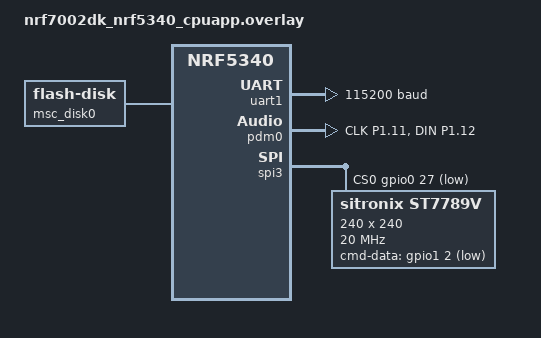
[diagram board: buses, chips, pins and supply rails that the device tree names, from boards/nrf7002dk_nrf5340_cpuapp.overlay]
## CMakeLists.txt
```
#
# Copyright (c) 2023 Nordic Semiconductor ASA
#
# SPDX-License-Identifier: LicenseRef-Nordic-5-Clause
#

cmake_minimum_required(VERSION 3.20.0)

get_filename_component(MATTER_MODULE_ROOT $ENV{ZEPHYR_BASE}/../modules/lib/matter REALPATH)

# Set Kconfig root files that will be processed as a first Kconfig for used child images.
set(mcuboot_KCONFIG_ROOT "${MATTER_MODULE_ROOT}/config/nrfconnect/chip-module/Kconfig.mcuboot.root")
# used for Matter over Thread
set(multiprotocol_rpmsg_KCONFIG_ROOT "${MATTER_MODULE_ROOT}/config/nrfconnect/chip-module/Kconfig.multiprotocol_rpmsg.root")
list(APPEND multiprotocol_rpmsg_b0n_OVERLAY_CONFIG overlay-minimal-size.conf)
# used for Matter over Wi-Fi
set(hci_rpmsg_KCONFIG_ROOT "${MATTER_MODULE_ROOT}/config/nrfconnect/chip-module/Kconfig.hci_rpmsg.root")
list(APPEND hci_rpmsg_b0n_OVERLAY_CONFIG overlay-minimal-size.conf)

find_package(Zephyr HINTS $ENV{ZEPHYR_BASE})

project(matter-bridge)

set(COMMON_ROOT src/common)
set(NLIO_ROOT ${MATTER_MODULE_ROOT}/third_party/nlio/repo)
include(${MATTER_MODULE_ROOT}/config/nrfconnect/app/enable-gnu-std.cmake)
include(${MATTER_MODULE_ROOT}/src/app/chip_data_model.cmake)

# NORDIC SDK APP START
target_include_directories(app PRIVATE
    src
    ${COMMON_ROOT}
    ${NLIO_ROOT}/include
    ${MATTER_MODULE_ROOT}/zzz_generated/app-common
)

target_sources(app PRIVATE
    src/app_task.cpp
    src/main.cpp
    src/util.cpp
    src/bridge/bridge_manager.cpp
    src/bridge/matter_device.cpp
    src/bridge/matter_device_ble.cpp
    src/bridge/matter_device_fixed.cpp
    src/bridge/ble_connectivity_manager.cpp
    src/bridge/ble_device.cpp
    src/bridge/oob_exchange_manager.cpp
    src/uart/nfc_uart.cpp
    src/zap-generated/IMClusterCommandHandler.cpp
    src/zap-generated/callback-stub.cpp
    ${COMMON_ROOT}/led_widget.cpp
)

target_sources_ifdef(CONFIG_WIFI
        app PRIVATE
        src/reminders/ai/completions.c
        src/reminders/ai/socket_common.c
        src/reminders/ai/whisper.c
        src/reminders/persistence/persistence.c
        src/reminders/recorder.c
        src/reminders/reminder.c
        src/reminders/reminders_app.c
        src/display.c
)

set(gen_dir ${ZEPHYR_BINARY_DIR}/include/generated/)

generate_inc_file_for_target(
    app
    src/reminders/ai/Baltimore\ CyberTrust\ Root.cer
    ${gen_dir}/https-cert.der.inc
)

target_sources_ifndef(CONFIG_USB_DEVICE_INITIALIZE_AT_BOOT
    app PRIVATE
    src/usb/usb.cpp
)

target_sources_ifdef(CONFIG_SHELL
    app PRIVATE
    src/bridge_shell.cpp
)

if(CONFIG_CHIP_OTA_REQUESTOR)
    target_sources(app PRIVATE ${COMMON_ROOT}/src/ota_util.cpp)
endif()

chip_configure_data_model(app
    INCLUDE_SERVER
    BYPASS_IDL
    GEN_DIR src/zap-generated
    ZAP_FILE ${CMAKE_CURRENT_SOURCE_DIR}/src/bridge.zap
)
# NORDIC SDK APP END

# Requires fixing a warning in zephyr/include/zephyr/net/ieee802154_pkt.h
#   Add cast to line 72 (at least ncs v2.4.1,v2.5.0):
#     return (struct net_pkt_cb_ieee802154*) net_pkt_cb(pkt);
#zephyr_library_compile_options(-std=gnu++20 -Wno-volatile -Werror)
zephyr_library_compile_options(-std=gnu++20 -Wno-volatile)
```

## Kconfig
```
#
# Copyright (c) 2023 Nordic Semiconductor
#
# SPDX-License-Identifier: LicenseRef-Nordic-5-Clause
#
mainmenu "Matter nRF Connect Bridge Example Application"

if NET_L2_OPENTHREAD

choice OPENTHREAD_NORDIC_LIBRARY_CONFIGURATION
	default OPENTHREAD_NORDIC_LIBRARY_FTD
endchoice

choice OPENTHREAD_DEVICE_TYPE
	default OPENTHREAD_FTD
endchoice

endif # NET_L2_OPENTHREAD

config BRIDGE_MAX_DYNAMIC_ENDPOINTS_NUMBER
	int "Maximum number of dynamic endpoints supported by the Bridge"
	default 16

config BRIDGE_BT_RECOVERY_INTERVAL_MS
	int "Time (in ms) between recovery attempts when the BLE connection to the bridged device is lost"
	default 10000

config BRIDGE_BT_RECOVERY_SCAN_TIMEOUT_MS
	int "Time (in ms) within which the Bridge will try to re-establish a connection to the lost BT LE device"
	default 2000
	
config BRIDGE_AGGREGATOR_ENDPOINT_ID
 	int "Id of an endpoint implementing Aggregator device type functionality"
 	default 1

config OPENAI_API_KEY
	string "API Key for Open.ai"
	help
	  Specify the Password to connect


partition=FFS1
partition-size=0x100000
source "${ZEPHYR_BASE}/../nrf/subsys/partition_manager/Kconfig.template.partition_config"
source "${ZEPHYR_BASE}/../nrf/subsys/partition_manager/Kconfig.template.partition_region"

source "${ZEPHYR_CONNECTEDHOMEIP_MODULE_DIR}/config/nrfconnect/chip-module/Kconfig.features"
source "${ZEPHYR_CONNECTEDHOMEIP_MODULE_DIR}/config/nrfconnect/chip-module/Kconfig.defaults"
source "Kconfig.zephyr"

# Required to be able to do 
# list(APPEND multiprotocol_rpmsg_b0n_OVERLAY_CONFIG overlay-minimal-size.conf)
# list(APPEND hci_rpmsg_b0n_OVERLAY_CONFIG overlay-minimal-size.conf)
# in CMakeLists.txt
module=HCI_RPMSG
source "${ZEPHYR_BASE}/../nrf/subsys/partition_manager/Kconfig.template.build_strategy"

module=MULTIPROTOCOL_RPMSG
source "${ZEPHYR_BASE}/../nrf/subsys/partition_manager/Kconfig.template.build_strategy"
```

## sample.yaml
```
sample:
  description: Matter Bridge
  name: Matter Bridge application
tests:
  gentlyCommunicatingHome.bridge:
    platform_allow: ssci_mdbt53_dev_board nrf7002dk_nrf5340_cpuapp
```

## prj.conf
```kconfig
#################
# Debugging
#################
# Debug information
CONFIG_DEBUG=n
CONFIG_DEBUG_OPTIMIZATIONS=n
CONFIG_DEBUG_INFO=y
CONFIG_DEBUG_THREAD_INFO=y

CONFIG_THREAD_NAME=y
CONFIG_THREAD_MONITOR=y

CONFIG_MPU_STACK_GUARD=y

CONFIG_RESET_ON_FATAL_ERROR=y

# Disabling assertions saves # Disabling shell saves 18,524 bytes of flash bytes of flash
CONFIG_ASSERT=n
CONFIG_ASSERT_VERBOSE=n



#################
# Memory settings
#################
# Workqueue
CONFIG_SYSTEM_WORKQUEUE_STACK_SIZE=8192

# Stack sizes
CONFIG_ISR_STACK_SIZE=2048
CONFIG_MAIN_STACK_SIZE=6144
CONFIG_SHELL_STACK_SIZE=8192
# Raised to avoid crash default 2200 if BT_SETTINGS
CONFIG_BT_RX_STACK_SIZE=3072

# defaults
#CONFIG_NET_TX_STACK_SIZE=4096
#CONFIG_NET_RX_STACK_SIZE=4096
#CONFIG_NET_MGMT_EVENT_STACK_SIZE=4096
#CONFIG_NRF700X_WORKQ_STACK_SIZE=4096
#CONFIG_WFA_QT_THREAD_STACK_SIZE=4096
#CONFIG_WPA_SUPP_THREAD_STACK_SIZE=8192
#CONFIG_WPA_SUPP_WQ_STACK_SIZE=4096

# Heap sizes
CONFIG_HEAP_MEM_POOL_SIZE=155000
CONFIG_MBEDTLS_HEAP_SIZE=32768

# Other large contributors
# MEMORY -> If 10 then RX Buf 22.63kB (CONFIG_LV_Z_BITS_PER_PIXEL * ((CONFIG_LV_Z_VDB_SIZE * DISPLAY_WIDTH * DISPLAY_HEIGHT) / 100) / 8)
CONFIG_LV_Z_VDB_SIZE=2

# MEMORY (Flash disk cache in overlay) -> 4kB
# MEMORY (CHIP heap) -> 28kB
# MEMORY (CHIP packet buffer) -> 12.5kB
# MEMORY (CHIP server) -> 11.17kB
# MEMORY (CHIP Interaction Model Engine) -> 9.55kB
# MEMORY (CHIP Device Layer Thread Stack) -> 6.06kB


# MEMORY (Recorder buffer) -> 93.75kB
# MEMORY (Recorder stack size) -> 6.06kB
# MEMORY (AI Send buffer) -> 4kB
# MEMORY (AI Recv buffer) -> 4kB
# MEMORY (AI Response buffer) -> 1kB

# In case of wifi 20kB larger than Openthread
#CONFIG_CHIP_MALLOC_SYS_HEAP_SIZE=28672



# Buffers for network and nRF7002
# https://developer.nordicsemi.com/nRF_Connect_SDK/doc/latest/nrf/device_guides/working_with_nrf/nrf70/developing/constrained.html

# Increase BUF_TX_COUNT, otherwise sending large data fails.
# Decrease RX_NUM_BUFS, RX_MAX_DATA_SIZE to save memory
# Matter sets low MAX_TX_AGGREGATION, increase again for faster transfer
# Commented out are defaults

#CONFIG_NET_PKT_RX_COUNT=8
#CONFIG_NET_PKT_TX_COUNT=8
#CONFIG_NET_BUF_RX_COUNT=16
CONFIG_NET_BUF_TX_COUNT=32

#CONFIG_NET_BUF_DATA_SIZE=128

# MEMORY -> RX Buf (128*16) 2kB
# MEMORY -> TX Buf (128*32) 4kB

# Decrease to save memory
CONFIG_NRF700X_RX_NUM_BUFS=12
CONFIG_NRF700X_RX_MAX_DATA_SIZE=800
CONFIG_NRF700X_MAX_TX_AGGREGATION=12
#CONFIG_NRF700X_MAX_TX_TOKENS=10
#CONFIG_NRF700X_TX_MAX_DATA_SIZE=1600

#CONFIG_NET_SOCKETPAIR_BUFFER_SIZE=4096



#################
# Matter
#################
CONFIG_CHIP=y
CONFIG_CHIP_PROJECT_CONFIG="src/chip_project_config.h"

CONFIG_CHIP_ENABLE_PAIRING_AUTOSTART=y
CONFIG_CHIP_OTA_REQUESTOR=n
CONFIG_CHIP_NFC_COMMISSIONING=n
CONFIG_CHIP_QSPI_NOR=n
# Factory data
CONFIG_CHIP_FACTORY_DATA=n
CONFIG_CHIP_FACTORY_DATA_BUILD=n
# All commented out because with a different discriminator, commissioning on Macs does not work anymore.
#CONFIG_CHIP_FACTORY_DATA_MERGE_WITH_FIRMWARE=y
#CONFIG_CHIP_FACTORY_DATA_USE_DEFAULT_CERTS=y
#CONFIG_CHIP_DEVICE_SERIAL_NUMBER="1"
#CONFIG_CHIP_DEVICE_VENDOR_ID=65521
#CONFIG_CHIP_DEVICE_VENDOR_NAME="J"
# 32770 == 0x8002 (example bridge)
#CONFIG_CHIP_DEVICE_PRODUCT_ID=32770
#CONFIG_CHIP_DEVICE_PRODUCT_NAME="Matter IoT Bridge"
#CONFIG_CHIP_DEVICE_MANUFACTURING_DATE="2023-11-15"
#CONFIG_CHIP_DEVICE_HARDWARE_VERSION=1
#CONFIG_CHIP_DEVICE_HARDWARE_VERSION_STRING="1.0"
#CONFIG_CHIP_DEVICE_DISCRIMINATOR=0xF01

# Reduced the storage to 0x1000 to save Flash for application.
# This is no multiple of 0x4000, which is a requirement for flash write protection.
# See modules/lib/matter/src/platform/nrfconnect/FactoryDataProvider.h:63:44: 
# error: static assertion failed: FPROTECT memory block, which contains factory datapartition overlaps with the settings partition.
# Probably your settings partition size is not a multipleof the atomic FPROTECT block size of 0x4000kB
# Anyway, only valid if CONFIG_CHIP_FACTORY_DATA=y
# CONFIG_CHIP_FACTORY_DATA_WRITE_PROTECT=n


####################################
# Bluetooth Low Energy configuration
####################################
CONFIG_BT=y
CONFIG_BT_CENTRAL=y
CONFIG_BT_SCAN=y
CONFIG_BT_SCAN_FILTER_ENABLE=y
CONFIG_BT_SCAN_ADDRESS_CNT=1
CONFIG_BT_SCAN_UUID_CNT=2
CONFIG_BT_GATT_CLIENT=y
CONFIG_BT_GATT_DM=y

CONFIG_BT_DEVICE_NAME="MatterBridge"

## Security
CONFIG_BT_SMP=y
CONFIG_BT_MAX_CONN=2
CONFIG_BT_MAX_PAIRED=2
# Required to skip InitRandomStaticAddress() in modules/lib/matter/src/platform/Zephyr/BLEManagerImpl.cpp
# and settings_load() after PlatformMgr().InitChipStack()
CONFIG_BT_PRIVACY=y
CONFIG_BT_SMP_APP_PAIRING_ACCEPT=y

## Enable bonding
CONFIG_BT_SETTINGS=y
CONFIG_FLASH=y
CONFIG_FLASH_PAGE_LAYOUT=y
CONFIG_FLASH_MAP=y
CONFIG_NVS=y
CONFIG_SETTINGS=y

# Debug prints
CONFIG_BT_GATT_DM_DATA_PRINT=n

## Increase packet size - defaults by matter are ok
#CONFIG_BT_BUF_ACL_RX_SIZE=502
#CONFIG_BT_BUF_ACL_TX_SIZE=251
#CONFIG_BT_L2CAP_TX_MTU=247



###################
# USB configuration
###################
# Disabling USB saves 15,332 bytes of flash
CONFIG_USB_DEVICE_STACK=n
#CONFIG_USB_DEVICE_PRODUCT="MatterBridge"
#CONFIG_USB_CDC_ACM=n
#CONFIG_UART_LINE_CTRL=y
#CONFIG_USB_REQUEST_BUFFER_SIZE=2048
#
#CONFIG_USB_DEVICE_VID=0x1234
#CONFIG_USB_DEVICE_PID=0x5678
#
#CONFIG_USB_DEVICE_MANUFACTURER="J"
#CONFIG_USB_DEVICE_SN="MLB_000000000000"
#
#CONFIG_USB_DEVICE_INITIALIZE_AT_BOOT=y
#
#CONFIG_USB_COMPOSITE_DEVICE=n
#CONFIG_USB_MAX_NUM_TRANSFERS=8
#
#CONFIG_USB_MASS_STORAGE=y
#CONFIG_MASS_STORAGE_STACK_SIZE=1024
## USB mass storage needs an increase. (Stack overflow)
#CONFIG_USB_NRFX_WORK_QUEUE_STACK_SIZE=2048
#
# NAND defaults if CONFIG_DISK_DRIVER_FLASH=y
#CONFIG_MASS_STORAGE_DISK_NAME="NAND"



############
# Wifi
############
CONFIG_WIFI=y
CONFIG_WIFI_NRF700X=y

CONFIG_WPA_SUPP=y
# save flash memory
CONFIG_WPA_SUPP_ADVANCED_FEATURES=n



############
# Networking
############
CONFIG_NET_IPV4=y
CONFIG_NET_TCP=y
CONFIG_NET_DHCPV4=y

CONFIG_NET_SOCKETS_POLL_MAX=12
CONFIG_NET_IF_UNICAST_IPV4_ADDR_COUNT=1

# Raise contexts to do multiple ntp requests and open.ai requests simultaneous
# MEMORY -> 7.98kB
CONFIG_NET_MAX_CONTEXTS=20

CONFIG_DNS_RESOLVER=y
CONFIG_DNS_SERVER_IP_ADDRESSES=y
CONFIG_DNS_SERVER1="8.8.8.8"
# defaults
#CONFIG_DNS_RESOLVER_MAX_SERVERS=1
#CONFIG_DNS_NUM_CONCUR_QUERIES=1

CONFIG_NET_MAX_CONN=16
# MEMORY -> 4.10kB
CONFIG_NET_MGMT_EVENT_QUEUE_SIZE=50
CONFIG_NET_MGMT_EVENT_QUEUE_TIMEOUT=5000



############
# MbedTLS and security
############
CONFIG_MBEDTLS=y
CONFIG_NET_SOCKETS_SOCKOPT_TLS=y
CONFIG_MBEDTLS_TLS_LIBRARY=y
CONFIG_MBEDTLS_X509_LIBRARY=y

# Required to connect to open.ai
CONFIG_MBEDTLS_RSA_C=y
CONFIG_MBEDTLS_SSL_SERVER_NAME_INDICATION=y

# These sizes depend on the length of the certificate (chain)
# They are required to establish ssl connection with open.ai
CONFIG_MBEDTLS_ENABLE_HEAP=y
CONFIG_MBEDTLS_SSL_IN_CONTENT_LEN=3072
CONFIG_MBEDTLS_SSL_OUT_CONTENT_LEN=3072
CONFIG_MBEDTLS_HEAP_SIZE=32768



############
# Flash & Filesystem
############
CONFIG_DISK_ACCESS=y
CONFIG_FILE_SYSTEM=y
CONFIG_FAT_FILESYSTEM_ELM=y
CONFIG_FS_FATFS_LFN=y
CONFIG_FS_FATFS_LFN_MODE_STACK=y
# Already set above for BT
#CONFIG_FLASH=y
#CONFIG_FLASH_MAP=y
#CONFIG_FLASH_PAGE_LAYOUT=y

CONFIG_DISK_DRIVER_FLASH=y

CONFIG_SPI_NOR_FLASH_LAYOUT_PAGE_SIZE=4096

# When the PM is active additional settings are required.
# Finally the FFS1 is defined as static partition in pm_static_nrf7002dk_nrf5340_cpuapp.yml
CONFIG_PM_OVERRIDE_EXTERNAL_DRIVER_CHECK=y
CONFIG_PM_PARTITION_SIZE_FFS1=0x100000
CONFIG_PM_PARTITION_REGION_FFS1_EXTERNAL=y



#######
# Shell
#######
# Disabling shell saves 18,524 bytes of flash
CONFIG_SHELL=y
CONFIG_SHELL_PROMPT_UART="$ "
CONFIG_SHELL_VT100_COMMANDS=n
CONFIG_SHELL_DEFAULT_TERMINAL_WIDTH=100
CONFIG_SHELL_CMD_BUFF_SIZE=128
CONFIG_SHELL_BACKEND_SERIAL_RX_RING_BUFFER_SIZE=128

CONFIG_CHIP_LIB_SHELL=n
CONFIG_BT_SHELL=n

CONFIG_SHELL_LOG_BACKEND=n



##########
# logging
##########
# Disabling log saves 22,460 bytes of flash
CONFIG_LOG=y
CONFIG_LOG_MODE_MINIMAL=n
CONFIG_LOG_MODE_DEFERRED=y
CONFIG_LOG_MODE_IMMEDIATE=n
CONFIG_LOG_BUFFER_SIZE=6144
CONFIG_LOG_BACKEND_SHOW_COLOR=n 

CONFIG_LOG_BACKEND_UART=y

# Logs when using Debugger.
CONFIG_USE_SEGGER_RTT=n
#CONFIG_LOG_BACKEND_RTT=y
#CONFIG_LOG_BACKEND_RTT_MODE_DROP=y
#CONFIG_LOG_BACKEND_RTT_MESSAGE_SIZE=256
#CONFIG_SHELL_BACKEND_RTT=n
#CONFIG_SEGGER_RTT_BUFFER_SIZE_UP=4096

# log level settings
CONFIG_LOG_RUNTIME_FILTERING=n
CONFIG_LOG_DEFAULT_LEVEL=3

CONFIG_BT_LOG_LEVEL_INF=y
#CONFIG_MATTER_LOG_LEVEL_INF=y
#CONFIG_DATE_TIME_LOG_LEVEL_DBG=y
#CONFIG_BT_GATT_LOG_LEVEL_DBG=y
#CONFIG_FLASH_LOG_LEVEL_DBG=y
#CONFIG_USB_MASS_STORAGE_LOG_LEVEL_DBG=y
#CONFIG_USB_DEVICE_LOG_LEVEL_DBG=y
#CONFIG_NET_HTTP_LOG_LEVEL_DBG=y
#CONFIG_NET_LOG=y

#CONFIG_DISPLAY_LOG_LEVEL_DBG=y
#CONFIG_LV_USE_LOG=y
#CONFIG_LV_LOG_LEVEL_INFO=y
#CONFIG_LV_LOG_PRINTF=y


############
# App
############
# Add suppot for LEDs and buttons on Nordic development kits
CONFIG_DK_LIBRARY=y

# Add support for PDM microphone
CONFIG_NRFX_PDM=y

# Parsing of Json with its dependencies
CONFIG_CJSON_LIB=y
CONFIG_NEWLIB_LIBC=y
CONFIG_NEWLIB_LIBC_FLOAT_PRINTF=y

# Using functions for time
CONFIG_DATE_TIME=y
CONFIG_DATE_TIME_NTP=y

# Make http requests
CONFIG_HTTP_CLIENT=y

# Communication with Raspberry Pico (NFC over USB)
CONFIG_UART_INTERRUPT_DRIVEN=y

# To be implemented. At the moment not enough flash. Wait for the nRF70 firmware to be put onto flash.
# Display
CONFIG_LV_Z_MEM_POOL_NUMBER_BLOCKS=1
CONFIG_LV_MEM_BUF_MAX_NUM=1
CONFIG_DISPLAY=y

CONFIG_LVGL=y
CONFIG_LV_CONF_MINIMAL=y
CONFIG_LV_MEM_CUSTOM=y

CONFIG_LV_USE_LABEL=y


CONFIG_LV_Z_USE_FILESYSTEM=n


############
# Other
############
# appends -std=gnu++20 while CPP20 results in a compile error Building with unsupported C++ standard
# CONFIG_STD_CPP2A=y
CONFIG_STD_CPP14=y

CONFIG_ENTROPY_GENERATOR=y
CONFIG_POSIX_CLOCK=y
CONFIG_POLL=y

# Do I need these?
CONFIG_MPU_ALLOW_FLASH_WRITE=y
CONFIG_SPI_NOR_CS_WAIT_DELAY=5

# With 2.5.1, the bootloader is skipped if not required (no OTA) (?)
#CONFIG_BOOTLOADER_MCUBOOT=y
#CONFIG_MCUBOOT_BUILD_STRATEGY_SKIP_BUILD=y
#CONFIG_MULTIPROTOCOL_RPMSG_BUILD_STRATEGY_SKIP_BUILD=y
```

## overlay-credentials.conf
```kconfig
CONFIG_OPENAI_API_KEY="__REPLACE_ME__"
```

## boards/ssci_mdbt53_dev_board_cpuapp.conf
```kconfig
#################
# Flash
#################
# Need this when storage is on flash
CONFIG_MPU_ALLOW_FLASH_WRITE=y

# Need this when storage is on MX25R64
CONFIG_NORDIC_QSPI_NOR=y
CONFIG_NORDIC_QSPI_NOR_FLASH_LAYOUT_PAGE_SIZE=4096

CONFIG_PM_PARTITION_SIZE_LITTLEFS=0x0e0000
CONFIG_PM_PARTITION_REGION_LITTLEFS_EXTERNAL=y


#################
# Openthread
#################
CONFIG_SOC_NRF53_ANOMALY_160_WORKAROUND_NEEDED=y

CONFIG_NET_L2_OPENTHREAD=y
#CONFIG_OPENTHREAD_THREAD_VERSION_1_3_1=y
CONFIG_OPENTHREAD_DEBUG=n

CONFIG_OPENTHREAD_RADIO_WORKQUEUE_STACK_SIZE=2048
CONFIG_OPENTHREAD_DEFAULT_TX_POWER=3

CONFIG_OPENTHREAD_NORDIC_LIBRARY_FTD=y
CONFIG_OPENTHREAD_FTD=y

CONFIG_OPENTHREAD_SHELL=y


###################
# USB configuration
###################
CONFIG_USB_DEVICE_STACK=y
CONFIG_USB_DEVICE_PRODUCT="MatterBridge"
CONFIG_USB_CDC_ACM=y
CONFIG_UART_LINE_CTRL=y
CONFIG_USB_REQUEST_BUFFER_SIZE=2048

# The build should not complain about using the default device ids
CONFIG_USB_DEVICE_VID=0x1234
CONFIG_USB_DEVICE_PID=0x5678

CONFIG_USB_DEVICE_MANUFACTURER="J"
CONFIG_USB_DEVICE_SN="MLB_000000000000"

CONFIG_USB_DEVICE_INITIALIZE_AT_BOOT=n

CONFIG_USB_COMPOSITE_DEVICE=n
CONFIG_USB_MAX_NUM_TRANSFERS=4

CONFIG_USB_CDC_ACM_LOG_LEVEL_OFF=y

CONFIG_SHELL_BACKEND_SERIAL_CHECK_DTR=y


# Possible build strategies
# CONFIG_XXX_BUILD_STRATEGY_USE_HEX_FILE
# CONFIG_XXX_BUILD_STRATEGY_SKIP_BUILD
# CONFIG_XXX_BUILD_STRATEGY_FROM_SOURCE

# Use the 
#  - CONFIG_PM_PARTITION_REGION_LITTLEFS_EXTERNAL,
#  - CONFIG_PM_PARTITION_REGION_SETTINGS_STORAGE_EXTERNAL,
#  - CONFIG_PM_PARTITION_REGION_NVS_STORAGE_EXTERNAL 
# to specify that the relevant partition must be located in external flash memory.

# When using MCUboot, you can store the storage partition for the secondary slot in the external flash memory

CONFIG_I2C=n
CONFIG_ADC=n
```

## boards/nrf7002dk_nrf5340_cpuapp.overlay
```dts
#include <zephyr/dt-bindings/ipc_service/static_vrings.h>

/delete-node/ &gpio_fwd;

/ {
	chosen {
		zephyr,display = &st7789v;		
		zephyr,console = &uart0;		
		zephyr,shell-uart = &uart0;		
		zephyr,flash-controller = &mx25r64;		
		nordic,pm-ext-flash = &mx25r64;
	};
	aliases {
		nfc-uart = &uart1;
	};	
};

/* Set IPC thread priority to the highest value to not collide with other threads. */
&ipc0 {
    zephyr,priority = <0 PRIO_COOP>;
};

&uart1 {
	current-speed = <115200>;
	status = "okay";
	pinctrl-0 = <&uart1_default>;
	pinctrl-1 = <&uart1_sleep>;
	pinctrl-names = "default", "sleep";
};


// Below for open.ai use-case

// Define the filesystem for the USB MASS Storage
/ {
	msc_disk0 {
		compatible = "zephyr,flash-disk";
		partition = <&ffs1>;
		// disk-name must be one of "RAM","NAND","CF","SD","SD2","USB","USB2","USB3"
		disk-name = "NAND";
		cache-size = <4096>;
		// when changing sector-size, adapt CONFIG_FS_FATFS_MAX_SS or crash
		sector-size = <512>;
	};
};

// Define the pins for the microphone for the voice recorder
&pinctrl {
	pdm0_default_alt: pdm0_default_alt {
		group1 {
			// change also values in bridge/src/reminders/recorder.c when changing these
			psels = <NRF_PSEL(PDM_CLK, 1, 11)>,
				<NRF_PSEL(PDM_DIN, 1, 12)>;
		};
	};
};

dmic_dev: &pdm0 {
	status = "okay";
	pinctrl-0 = <&pdm0_default_alt>;
	pinctrl-names = "default";
	clock-source = "PCLK32M_HFXO";
};

// Definition of the file system partition on the flash
// When the Partition Manager is active, add a static partition or this will be dropped!
&mx25r64 {
	partitions {
		compatible = "fixed-partitions";
		#address-cells = <1>;
		#size-cells = <1>;

		ffs1: partition@0 {
			label = "ffs1";			
			reg = <0x00000000 0x00100000>;
		};
	};
};

// Definition of the SPI pins for the display
&spi3_default {
	group1 {
		psels = <NRF_PSEL(SPIM_SCK, 1, 15)>,
			<NRF_PSEL(SPIM_MISO, 1, 14)>,
			<NRF_PSEL(SPIM_MOSI, 1, 13)>;
	};
};

// Definition of the display
display_spi: &spi3 {
	status = "okay";
	cs-gpios = <&gpio0 27 GPIO_ACTIVE_LOW>;

	st7789v: st7789v@0 {
		compatible = "sitronix,st7789v";
		spi-max-frequency = <20000000>;
		reg = <0>;
		cmd-data-gpios = <&gpio1 2 GPIO_ACTIVE_LOW>;
// Use soft reset to save a pin
//		reset-gpios = <&gpio1 2 GPIO_ACTIVE_LOW>;
		width = <240>;
		height = <240>;
		x-offset = <0>;
		y-offset = <0>;
		vcom = <0x19>;
		gctrl = <0x35>;
		vrhs = <0x12>;
		vdvs = <0x20>;
		mdac = <0x00>;
		gamma = <0x01>;
		colmod = <0x05>;
		lcm = <0x2c>;
		porch-param = [0c 0c 00 33 33];
		cmd2en-param = [5a 69 02 01];
		pwctrl1-param = [a4 a1];
		pvgam-param = [D0 04 0D 11 13 2B 3F 54 4C 18 0D 0B 1F 23];
		nvgam-param = [D0 04 0C 11 13 2C 3F 44 51 2F 1F 1F 20 23];
		ram-param = [00 F0];
		rgb-param = [CD 08 14];
	};

};

// Disable i2c1 to free up pins used for the display
&i2c1 {
	status = "disabled";
};
```

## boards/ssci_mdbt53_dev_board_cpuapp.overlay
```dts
// Used for NRF_DRIVE_H0H1
#include <zephyr/dt-bindings/gpio/nordic-nrf-gpio.h>
// Used for PRIO_COOP
#include <zephyr/dt-bindings/ipc_service/static_vrings.h>

/delete-node/ &mx25r64;

/ {
	chosen {
		zephyr,console = &cdc_acm_uart;
		zephyr,shell-uart = &cdc_acm_uart;
//		zephyr,console = &uart0;
//		zephyr,shell-uart = &uart0;
		nordic,pm-ext-flash = &w25q128jv;
		zephyr,flash-controller = &w25q128jv;
	};

	aliases {
		nfc-uart = &uart1;
	};	

	fstab {
		compatible = "zephyr,fstab";
		lfs1: lfs1 {
			compatible = "zephyr,fstab,littlefs";
			mount-point = "/lfs1";
//			automount;
			partition = <&lfs1_part>;
			read-size = <16>;
			prog-size = <16>;
			cache-size = <64>;
			lookahead-size = <32>;
			block-cycles = <512>;
		};
	};
};

/* Set IPC thread priority to the highest value to not collide with other threads. */
&ipc0 {
    zephyr,priority = <0 PRIO_COOP>;
};


&i2c1 {
	status = "disabled";
};

&spi3 {
	status = "disabled";
};

&adc {
	status = "disabled";
};


&uart0_default {
	group1 {
		psels = <NRF_PSEL(UART_TX, 0, 12)>,
				<NRF_PSEL(UART_RX, 0, 19)>,
				<NRF_PSEL(UART_RTS, 0, 20)>,
				<NRF_PSEL(UART_CTS, 0, 21)>;
	};
};

&uart0_sleep {
	group1 {
		psels = <NRF_PSEL(UART_TX, 0, 12)>,
				<NRF_PSEL(UART_RX, 0, 19)>,
				<NRF_PSEL(UART_RTS, 0, 20)>,
				<NRF_PSEL(UART_CTS, 0, 21)>;
		low-power-enable;
	};
};

&uart0 {
	current-speed = <115200>;
	status = "okay";
	pinctrl-0 = <&uart0_default>;
	pinctrl-1 = <&uart0_sleep>;
	pinctrl-names = "default", "sleep";
};

&pinctrl {
	uart1_default: uart1_default {
		group1 {
			psels = <NRF_PSEL(UART_TX, 0, 10)>,
					<NRF_PSEL(UART_RX, 0, 11)>,
					<NRF_PSEL(UART_RTS, 0, 24)>,
					<NRF_PSEL(UART_CTS, 0, 25)>;
		};
	};

	uart1_sleep: uart1_sleep {
		group1 {
			psels = <NRF_PSEL(UART_TX, 0, 10)>,
					<NRF_PSEL(UART_RX, 0, 11)>,
					<NRF_PSEL(UART_RTS, 0, 24)>,
					<NRF_PSEL(UART_CTS, 0, 25)>;
			low-power-enable;
		};
	};
};

// TODO test that uart1 works correctly!!
&uart1 {
	current-speed = <115200>;
	status = "okay";
	pinctrl-0 = <&uart1_default>;
	pinctrl-1 = <&uart1_sleep>;
	pinctrl-names = "default", "sleep";
	// lpuart: nrf-sw-lpuart {
	// 	compatible = "nordic,nrf-sw-lpuart";
	// 	status = "okay";
	// 	req-pin = <7>;
	// 	rdy-pin = <9>;
	// };	
};

//gpiote {
//	interrupts = <13 NRF_DEFAULT_IRQ_PRIORITY>;
//;
//
//&timer2 {
//	status = "okay";
//};
//
//&rtc0 {
//	status = "okay";
//};

&qspi_default {
	group1 {
		psels = <NRF_PSEL(QSPI_SCK, 0, 17)>,
				<NRF_PSEL(QSPI_IO0, 0, 13)>,
				<NRF_PSEL(QSPI_IO1, 0, 14)>,
				<NRF_PSEL(QSPI_IO2, 0, 15)>,
				<NRF_PSEL(QSPI_IO3, 0, 16)>,
				<NRF_PSEL(QSPI_CSN, 0, 18)>;
				nordic,drive-mode = <NRF_DRIVE_H0H1>;
		};
	};

&qspi_sleep {
	group1 {
		psels = <NRF_PSEL(QSPI_SCK, 0, 17)>,
				<NRF_PSEL(QSPI_IO0, 0, 13)>,
				<NRF_PSEL(QSPI_IO1, 0, 14)>,
				<NRF_PSEL(QSPI_IO2, 0, 15)>,
				<NRF_PSEL(QSPI_IO3, 0, 16)>;
//		nordic,drive-mode = <NRF_DRIVE_H0H1>;
		low-power-enable;
	};
	group2 {
		psels = <NRF_PSEL(QSPI_CSN, 0, 18)>;
//		nordic,drive-mode = <NRF_DRIVE_H0H1>;
		low-power-enable;
		bias-pull-up;
	};
};

&qspi {
	status = "okay";
	pinctrl-0 = <&qspi_default>;
	pinctrl-1 = <&qspi_sleep>;
	pinctrl-names = "default", "sleep";
	w25q128jv: w25q128jv@0 {
		compatible = "nordic,qspi-nor";
		reg = < 0 >;
		sck-frequency = <8000000>;
		// Check the datasheet for the supported commands by the command id.
		writeoc = "pp4o";   // Quad data line SPI, PP4O (0x32)
		readoc = "read4io"; // Quad data line SPI, READ4IO (0xEB)
		// Property value must be one of NONE, S2B1v1, S1B6, S2B7, S2B1v4, S2B1v5, S2B1v6
		// The QE is register 2 bit 1
		// I found the appropriate values by running the sample
		//   zephyr/samples/drivers/jesd216. It will print out the values below.
		quad-enable-requirements = "S2B1v4";
		jedec-id = [ef 40 18];
		sfdp-bfp = [
			e5 20 f9 ff  ff ff ff 07  44 eb 08 6b  08 3b 42 bb
            fe ff ff ff  ff ff 00 00  ff ff 40 eb  0c 20 0f 52
            10 d8 00 00  36 02 a6 00  82 ea 14 c9  e9 63 76 33
            7a 75 7a 75  f7 a2 d5 5c  19 f7 4d ff  e9 30 f8 80
		];
		size = < DT_SIZE_M(16*8) >;
		// Check the datasheet if command DPD (0xB9) is supported.
		has-dpd;
		t-enter-dpd = < 3500 >;
		t-exit-dpd = < 3500 >;

		// https://developer.nordicsemi.com/nRF_Connect_SDK/doc/latest/nrf/scripts/partition_manager/partition_manager.html#ug-pm-static-providing
		// When you build a multi-image application using the Partition Manager, the devicetree source flash partitions are ignored.
		//
		// Littlefs uses a partition called littlefs_storage.
		// Memfault uses memfault_storage.
		// Settings uses settings_storage.
		// See nrf/subsys/partition_manager/pm.yml.*
		
		partitions {
			compatible = "fixed-partitions";
			#address-cells = <1>;
			#size-cells = <1>;
			lfs1_part: partition@0 {
				label = "flash-storage";
				reg = <0x00000000 0x01000000>;
			};
		};
	};
};
```

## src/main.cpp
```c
/*
 * Copyright (c) 2023 Nordic Semiconductor ASA
 *
 * SPDX-License-Identifier: LicenseRef-Nordic-5-Clause
 */

#include "app_task.h"

#if defined(CONFIG_USB_DEVICE_STACK)
#include "usb/usb.h"
#endif

#include "util.h"

#include <zephyr/logging/log.h>

LOG_MODULE_REGISTER(app, CONFIG_CHIP_APP_LOG_LEVEL);

int main() {
#if defined(CONFIG_USB_DEVICE_STACK) 
  initUSB();
#endif

  CHIP_ERROR err = AppTask::Instance().StartApp();

  LOG_ERR("Exited with code %" CHIP_ERROR_FORMAT, err.Format());
  return err == CHIP_NO_ERROR ? EXIT_SUCCESS : EXIT_FAILURE;
}
```

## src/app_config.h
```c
/*
 * Copyright (c) 2023 Nordic Semiconductor ASA
 *
 * SPDX-License-Identifier: LicenseRef-Nordic-5-Clause
 */

#pragma once

/* ---- Bridge App Config ---- */

#define FUNCTION_BUTTON DK_BTN1
#define FUNCTION_BUTTON_MASK DK_BTN1_MSK

#define RECORD_BUTTON DK_BTN2
#define RECORD_BUTTON_MASK DK_BTN2_MSK

#define SYSTEM_STATE_LED DK_LED1
```

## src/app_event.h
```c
/*
 * Copyright (c) 2023 Nordic Semiconductor ASA
 *
 * SPDX-License-Identifier: LicenseRef-Nordic-5-Clause
 */

#pragma once

#include <cstdint>

// only for OobExchangeManager::oobMessageLen
#include "../bridge/oob_exchange_manager.h"

class LEDWidget;

enum class AppEventType : uint8_t {
  None = 0,
  Button,
  ButtonPushed,
  ButtonReleased,
  Timer,
  UpdateLedState,
  UartMessage
};

enum class FunctionEvent : uint8_t { 
	NoneSelected = 0,
	FactoryReset
};

struct AppEvent;
using EventHandler = void (*)(const AppEvent &);

struct AppEvent {
  union {
    struct {
      char msg[OobExchangeManager::oobMessageLen];
    } UartEvent;
    struct {
      uint8_t PinNo;
      uint8_t Action;
    } ButtonEvent;
    struct {
      void *Context;
    } TimerEvent;
    struct {
      LEDWidget *LedWidget;
    } UpdateLedStateEvent;
  };

  AppEventType Type{AppEventType::None};
  EventHandler Handler;
};
```

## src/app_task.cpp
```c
/*
 * Copyright (c) 2023 Nordic Semiconductor ASA
 *
 * SPDX-License-Identifier: LicenseRef-Nordic-5-Clause
 */

#include "app_task.h"

#include <app/server/OnboardingCodesUtil.h>
#include <app/server/Server.h>
#include <credentials/DeviceAttestationCredsProvider.h>
#include <credentials/examples/DeviceAttestationCredsExample.h>
#include <lib/support/CHIPMem.h>
#include <lib/support/CodeUtils.h>
#include <platform/CHIPDeviceLayer.h>
#include <system/SystemError.h>

#include "app_config.h"
#include "bridge/bridge_manager.h"
#include "bridge/matter_device_ble.h"
#include "bridge/matter_device_fixed.h"
#include "bridge/oob_exchange_manager.h"
#include "fabric_table_delegate.h"
#include "uart/nfc_uart.h"
#include "display.h"

#include "reminders/reminders_app.h"

#if defined(CONFIG_WIFI)
#include <date_time.h>
#endif

#ifdef CONFIG_CHIP_WIFI
#include <app/clusters/network-commissioning/network-commissioning.h>
#include <platform/nrfconnect/wifi/NrfWiFiDriver.h>
#endif

#ifdef CONFIG_CHIP_OTA_REQUESTOR
#include "ota_util.h"
#endif

#include <dk_buttons_and_leds.h>
#include <zephyr/kernel.h>
#include <zephyr/logging/log.h>
#include <zephyr/settings/settings.h>

LOG_MODULE_DECLARE(app, CONFIG_CHIP_APP_LOG_LEVEL);

using namespace ::chip;
using namespace ::chip::app;
using namespace ::chip::Credentials;
using namespace ::chip::DeviceLayer;

namespace {
constexpr uint32_t kFactoryResetTriggerTimeout = 6000;
constexpr size_t kAppEventQueueSize = 10;

K_MSGQ_DEFINE(sAppEventQueue, sizeof(AppEvent), kAppEventQueueSize, alignof(AppEvent));
k_timer sFunctionTimer;
k_timer sBridgeStartTimer;

LEDWidget sStatusLED;

bool sIsNetworkProvisioned = false;
bool sIsNetworkEnabled = false;
bool sHaveBLEConnections = false;

} /* namespace */

namespace LedConsts {
namespace StatusLed {
namespace Unprovisioned {
constexpr uint32_t kOn_ms{100};
constexpr uint32_t kOff_ms{kOn_ms};
}  // namespace Unprovisioned
namespace Provisioned {
constexpr uint32_t kOn_ms{50};
constexpr uint32_t kOff_ms{950};
}  // namespace Provisioned

}  // namespace StatusLed

namespace FactoryLed {
constexpr uint32_t kBlinkRate_ms{100};
}  // namespace FactoryLed

}  // namespace LedConsts

#ifdef CONFIG_CHIP_WIFI
app::Clusters::NetworkCommissioning::Instance sWiFiCommissioningInstance(
    0, &(NetworkCommissioning::NrfWiFiDriver::Instance()));
#endif

#include "bridge/config.inc"


// Handle repeated card id events
static volatile bool skipRepeat = false;
static char lastId[20];
struct k_work_delayable cardRepeatTimerWork;

static void onCardRepeatTimer(struct k_work *work) {
  skipRepeat = false;
}


CHIP_ERROR AppTask::Init() {
  /* Initialize CHIP stack */
  LOG_INF("Init CHIP stack");

  CHIP_ERROR err = chip::Platform::MemoryInit();
  if (err != CHIP_NO_ERROR) {
    LOG_ERR("Platform::MemoryInit() failed");
    return err;
  }

  err = PlatformMgr().InitChipStack();
  if (err != CHIP_NO_ERROR) {
    LOG_ERR("PlatformMgr().InitChipStack() failed");
    return err;
  }

  if (IS_ENABLED(CONFIG_SETTINGS)) {
    int err2 = settings_load();
    if (err2) {
      LOG_ERR("Failed to load settings (err %d)", err2);
    } else {
      LOG_INF("Loaded settings (err %d)", err2);
    }
  }

#if defined(CONFIG_NET_L2_OPENTHREAD)
  err = ThreadStackMgr().InitThreadStack();
  if (err != CHIP_NO_ERROR) {
    LOG_ERR("ThreadStackMgr().InitThreadStack() failed: %s", ErrorStr(err));
    return err;
  }

  err = ConnectivityMgr().SetThreadDeviceType(ConnectivityManager::kThreadDeviceType_Router);

  if (err != CHIP_NO_ERROR) {
    LOG_ERR("ThreadStackMgr().InitThreadStack() failed: %s", ErrorStr(err));
    return err;
  }
#elif defined(CONFIG_CHIP_WIFI)
  sWiFiCommissioningInstance.Init();
#else
  return CHIP_ERROR_INTERNAL;
#endif /* CONFIG_NET_L2_OPENTHREAD */
  /* Initialize LEDs */
  LEDWidget::InitGpio();
  LEDWidget::SetStateUpdateCallback(LEDStateUpdateHandler);

  sStatusLED.Init(SYSTEM_STATE_LED);

  UpdateStatusLED();

  /* Initialize buttons */
  int ret = dk_buttons_init(ButtonEventHandler);
  if (ret) {
    LOG_ERR("dk_buttons_init() failed");
    return chip::System::MapErrorZephyr(ret);
  }

  /* Initialize function timer */
  k_timer_init(&sFunctionTimer, &AppTask::FunctionTimerTimeoutCallback, nullptr);
  k_timer_user_data_set(&sFunctionTimer, this);

  k_timer_init(&sBridgeStartTimer, &AppTask::BridgeStartCallback, nullptr);
  k_timer_user_data_set(&sBridgeStartTimer, this);

#ifdef CONFIG_CHIP_OTA_REQUESTOR
  /* OTA image confirmation must be done before the factory data init. */
  OtaConfirmNewImage();
#endif

  /* Initialize CHIP server */
#if CONFIG_CHIP_FACTORY_DATA
  ReturnErrorOnFailure(mFactoryDataProvider.Init());
  SetDeviceInstanceInfoProvider(&mFactoryDataProvider);
  SetDeviceAttestationCredentialsProvider(&mFactoryDataProvider);
  SetCommissionableDataProvider(&mFactoryDataProvider);
#else
  SetDeviceInstanceInfoProvider(&DeviceInstanceInfoProviderMgrImpl());
  SetDeviceAttestationCredentialsProvider(Examples::GetExampleDACProvider());
#endif

  static chip::CommonCaseDeviceServerInitParams initParams;
  (void)initParams.InitializeStaticResourcesBeforeServerInit();

  ReturnErrorOnFailure(chip::Server::GetInstance().Init(initParams));

  ConfigurationMgr().LogDeviceConfig();
  PrintOnboardingCodes(chip::RendezvousInformationFlags(chip::RendezvousInformationFlag::kBLE));
  AppFabricTableDelegate::Init();

  /*
   * Add CHIP event handler and start CHIP thread.
   * Note that all the initialization code should happen prior to this point to avoid data races
   * between the main and the CHIP threads.
   */
  PlatformMgr().AddEventHandler(ChipEventHandler, 0);

  err = PlatformMgr().StartEventLoopTask();
  if (err != CHIP_NO_ERROR) {
    LOG_ERR("PlatformMgr().StartEventLoopTask() failed");
    return err;
  }

  NfcUart::Instance().Init(UartMessageHandler);

  display_init();
  k_work_init_delayable(&cardRepeatTimerWork, onCardRepeatTimer);

  return CHIP_NO_ERROR;
}

CHIP_ERROR AppTask::StartApp() {
  ReturnErrorOnFailure(Init());

  AppEvent event = {};

  while (true) {
    k_msgq_get(&sAppEventQueue, &event, K_FOREVER);
    DispatchEvent(event);
  }

  return CHIP_NO_ERROR;
}

void AppTask::ButtonEventHandler(uint32_t buttonState, uint32_t hasChanged) {
  AppEvent button_event;
  button_event.Type = AppEventType::Button;

  if (FUNCTION_BUTTON_MASK & hasChanged) {
    button_event.ButtonEvent.PinNo = FUNCTION_BUTTON;
    button_event.ButtonEvent.Action =
        static_cast<uint8_t>((FUNCTION_BUTTON_MASK & buttonState) ? AppEventType::ButtonPushed
                                                                  : AppEventType::ButtonReleased);
    button_event.Handler = FunctionHandler;
    PostEvent(button_event);
  } else if (RECORD_BUTTON_MASK & hasChanged) {
    LOG_INF("ButtonEventHandler Post Button event RECORD_BUTTON");
    button_event.ButtonEvent.PinNo = RECORD_BUTTON;
    button_event.ButtonEvent.Action =
        static_cast<uint8_t>((RECORD_BUTTON_MASK & buttonState) ? AppEventType::ButtonPushed
                                                                : AppEventType::ButtonReleased);
    button_event.Handler = FunctionHandler;
    PostEvent(button_event);
  }
}

void AppTask::BridgeStartCallback(k_timer *timer) {
  chip::DeviceLayer::PlatformMgr().ScheduleWork(
      [](intptr_t context) {
        initRemindersApp(display_updateTranscription, display_updateCompletions);
        InitBridge();
      },
      reinterpret_cast<intptr_t>(nullptr));  
}

void AppTask::FunctionTimerTimeoutCallback(k_timer *timer) {
  if (!timer) {
    return;
  }

  AppEvent event;
  event.Type = AppEventType::Timer;
  event.TimerEvent.Context = k_timer_user_data_get(timer);
  event.Handler = FunctionTimerEventHandler;
  PostEvent(event);
}

void AppTask::FunctionTimerEventHandler(const AppEvent &) {
  if (Instance().mFunction == FunctionEvent::FactoryReset) {
    Instance().mFunction = FunctionEvent::NoneSelected;
    LOG_INF("Factory Reset triggered");

    sStatusLED.Blink(LedConsts::FactoryLed::kBlinkRate_ms);

    chip::Server::GetInstance().ScheduleFactoryReset();
  }
}

void AppTask::FunctionHandler(const AppEvent &event) {
  if (event.ButtonEvent.PinNo == FUNCTION_BUTTON) {
    if (event.ButtonEvent.Action == static_cast<uint8_t>(AppEventType::ButtonPushed)) {
      Instance().StartTimer(kFactoryResetTriggerTimeout);
      Instance().mFunction = FunctionEvent::FactoryReset;
    } else if (event.ButtonEvent.Action == static_cast<uint8_t>(AppEventType::ButtonReleased)) {
      if (Instance().mFunction == FunctionEvent::FactoryReset) {
        UpdateStatusLED();
        Instance().CancelTimer();
        Instance().mFunction = FunctionEvent::NoneSelected;
        LOG_INF("Factory Reset has been Canceled. Init Bridge.");
      }
    }
  } else if (event.ButtonEvent.PinNo == RECORD_BUTTON) {
    if (event.ButtonEvent.Action == static_cast<uint8_t>(AppEventType::ButtonPushed)) {
      startAiFlow();
    } else if (event.ButtonEvent.Action == static_cast<uint8_t>(AppEventType::ButtonReleased)) {
      stopRecording();
    }
  }
}

void AppTask::LEDStateUpdateHandler(LEDWidget &ledWidget) {
  AppEvent event;
  event.Type = AppEventType::UpdateLedState;
  event.Handler = UpdateLedStateEventHandler;
  event.UpdateLedStateEvent.LedWidget = &ledWidget;
  PostEvent(event);
}

void AppTask::UpdateLedStateEventHandler(const AppEvent &event) {
  if (event.Type == AppEventType::UpdateLedState) {
    event.UpdateLedStateEvent.LedWidget->UpdateState();
  }
}

void AppTask::UpdateStatusLED() {
  /* Update the status LED.
   *
   * If IPv6 networking and service provisioned, keep the LED On constantly.
   *
   * If the system has BLE connection(s) uptill the stage above, THEN blink the LED at an even
   * rate of 100ms.
   *
   * Otherwise, blink the LED for a very short time. */
  if (sIsNetworkProvisioned && sIsNetworkEnabled) {
    sStatusLED.Set(true);
  } else if (sHaveBLEConnections) {
    sStatusLED.Blink(LedConsts::StatusLed::Unprovisioned::kOn_ms,
                     LedConsts::StatusLed::Unprovisioned::kOff_ms);
  } else {
    sStatusLED.Blink(LedConsts::StatusLed::Provisioned::kOn_ms,
                     LedConsts::StatusLed::Provisioned::kOff_ms);
  }
}

void AppTask::ChipEventHandler(const ChipDeviceEvent *event, intptr_t /* arg */) {
  switch (event->Type) {
    case DeviceEventType::kCHIPoBLEAdvertisingChange:
      sHaveBLEConnections = ConnectivityMgr().NumBLEConnections() != 0;
      UpdateStatusLED();
      break;
#if defined(CONFIG_NET_L2_OPENTHREAD)
    case DeviceEventType::kDnssdInitialized:
#if CONFIG_CHIP_OTA_REQUESTOR
      InitBasicOTARequestor();
#endif
      break;
    case DeviceEventType::kThreadStateChange:
      sIsNetworkProvisioned = ConnectivityMgr().IsThreadProvisioned();
      sIsNetworkEnabled = ConnectivityMgr().IsThreadEnabled();
#elif defined(CONFIG_CHIP_WIFI)
    case DeviceEventType::kWiFiConnectivityChange:
      sIsNetworkProvisioned = ConnectivityMgr().IsWiFiStationProvisioned();
      sIsNetworkEnabled = ConnectivityMgr().IsWiFiStationEnabled();
#if CONFIG_CHIP_OTA_REQUESTOR
      if (event->WiFiConnectivityChange.Result == kConnectivity_Established) {
        InitBasicOTARequestor();
      }
#endif /* CONFIG_CHIP_OTA_REQUESTOR */
#endif
      UpdateStatusLED();
      k_timer_start(&sBridgeStartTimer, K_SECONDS(10), K_NO_WAIT);
      break;
    default:
      break;
  }
}

void AppTask::UartMessageHandler(char *buf, uint16_t len) {
  AppEvent event;
  event.Type = AppEventType::UartMessage;
  event.Handler = ParseUartMessageHandler;
  if (len > sizeof(event.UartEvent.msg)) {
    LOG_INF("UART message larger than buffer %d > %d:", len, sizeof(event.UartEvent.msg));
    memcpy(event.UartEvent.msg, buf, sizeof(event.UartEvent.msg));
    event.UartEvent.msg[sizeof(event.UartEvent.msg) - 1] = 0;
  } else {
    memcpy(event.UartEvent.msg, buf, len);
  }
  PostEvent(event);
}

void AppTask::ParseUartMessageHandler(const AppEvent &event) {
  if (event.Type == AppEventType::UartMessage) {
    if (strncmp(event.UartEvent.msg, "ID:", 3) == 0) {
      //  check if the id is the same as the last one
      if(strncmp(lastId, event.UartEvent.msg, sizeof(lastId)) == 0) {
        if(skipRepeat) return;
      }
      
      // save the id to compare it to the next one
      strncpy(lastId, event.UartEvent.msg, sizeof(lastId));
      skipRepeat = true;
      k_work_reschedule(&cardRepeatTimerWork, K_SECONDS(5)); 

      // Card Id event
      LOG_INF("Received card id event: %s", event.UartEvent.msg);
      cardTriggerAction(event.UartEvent.msg);
    } else {
      // OOB event
      OobExchangeManager::Instance().ExchangeOob((char *)event.UartEvent.msg, NfcUart::SendEntry);
    }
  }
}

void AppTask::CancelTimer() { k_timer_stop(&sFunctionTimer); }

void AppTask::StartTimer(uint32_t timeoutInMs) {
  k_timer_start(&sFunctionTimer, K_MSEC(timeoutInMs), K_NO_WAIT);
}

void AppTask::PostEvent(const AppEvent &event) {
  if (k_msgq_put(&sAppEventQueue, &event, K_NO_WAIT) != 0) {
    LOG_INF("Failed to post event to app task event queue");
  }
}

void AppTask::DispatchEvent(const AppEvent &event) {
  if (event.Handler) {
    event.Handler(event);
  } else {
    LOG_INF("Event received with no handler. Dropping event.");
  }
}

void AppTask::InitBridge() {

  chip::DeviceLayer::PlatformMgr().ScheduleWork(
      [](intptr_t context) {
        struct MatterDeviceBle::MatterDeviceConfiguration conf;
        conf.filter = deviceFilter;
        conf.matterBleMapping = matterBleMapping;
        conf.ep = &bridgedPostureEndpoint;
        conf.deviceTypes = &postureDeviceTypesSpan;
        conf.dataVersions = &postureDataVersionsSpan;
        strncpy(conf.name, "posture", 8);

        // By coincidence the reminders use the same device type and clusters
        // Try to reuse all the definitions except the name
        struct MatterDeviceFixed::MatterDeviceConfiguration conf2;
        conf2.ep = &bridgedPostureEndpoint;
        conf2.deviceTypes = &postureDeviceTypesSpan;
        conf2.dataVersions = &postureDataVersionsSpan;
        strncpy(conf2.name, "reminder", 9);


        /* Initialize bridge manager */
        CHIP_ERROR err = BridgeManager::Instance().Init(conf, conf2);
        if (err != CHIP_NO_ERROR) {
          LOG_ERR("BridgeManager initialization failed");
        } else {
          LOG_INF("BridgeManager initialization ok");
        }
      },
      reinterpret_cast<intptr_t>(nullptr));
}
```

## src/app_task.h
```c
/*
 * Copyright (c) 2023 Nordic Semiconductor ASA
 *
 * SPDX-License-Identifier: LicenseRef-Nordic-5-Clause
 */

#pragma once

#include "app_event.h"
#include "led_widget.h"

#include <platform/CHIPDeviceLayer.h>

#if CONFIG_CHIP_FACTORY_DATA
#include <platform/nrfconnect/FactoryDataProvider.h>
#else
#include <platform/nrfconnect/DeviceInstanceInfoProviderImpl.h>
#endif

struct k_timer;

class AppTask {
public:
	static AppTask &Instance()
	{
		static AppTask sAppTask;
		return sAppTask;
	};

	CHIP_ERROR StartApp();
	static void InitBridge();
private:
	CHIP_ERROR Init();

	void CancelTimer();
	void StartTimer(uint32_t timeoutInMs);

	static void PostEvent(const AppEvent &event);
	static void DispatchEvent(const AppEvent &event);
	static void UpdateLedStateEventHandler(const AppEvent &event);
	static void FunctionHandler(const AppEvent &event);
	static void FunctionTimerEventHandler(const AppEvent &event);
	static void ParseUartMessageHandler(const AppEvent &event);

	static void ChipEventHandler(const chip::DeviceLayer::ChipDeviceEvent *event, intptr_t arg);
	static void ButtonEventHandler(uint32_t buttonState, uint32_t hasChanged);
	static void FunctionTimerTimeoutCallback(k_timer *timer);
	static void BridgeStartCallback(k_timer *timer);

	static void UpdateStatusLED();
	static void LEDStateUpdateHandler(LEDWidget &ledWidget);

	static void UartMessageHandler(char *buf, uint16_t len);

	FunctionEvent mFunction = FunctionEvent::NoneSelected;
	bool mFunctionTimerActive = false;

#if CONFIG_CHIP_FACTORY_DATA
	chip::DeviceLayer::FactoryDataProvider<chip::DeviceLayer::InternalFlashFactoryData> mFactoryDataProvider;
#endif
};
```

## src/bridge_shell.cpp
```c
/*
 * Copyright (c) 2023 Nordic Semiconductor ASA
 *
 * SPDX-License-Identifier: LicenseRef-Nordic-5-Clause
 */

#include <zephyr/bluetooth/bluetooth.h>
#include <zephyr/shell/shell.h>

#include "app_task.h"
#include "bridge/oob_exchange_manager.h"

static int init(const struct shell *shell, size_t argc, char **argv) {
  AppTask::InitBridge();
  return 0;
}

static int remove_bond(const struct shell *shell, size_t argc, char **argv) {
	shell_print(shell, " *** Please note that if being connected, this will crash and reboot. This is OK. *** ");  
  bt_unpair(BT_ID_DEFAULT, NULL);
  return 0;
}

static int cmd_oob_remote(const struct shell *shell, size_t argc, char *argv[]) {
  OobExchangeManager::Instance().SetRemoteOob(argv[1], argv[2], argv[3], argv[4]);
  return 0;
}

static int cmd_oob_local(const struct shell *shell, size_t argc, char *argv[]) {
  OobExchangeManager::Instance().GetLocalOob();
  return 0;
}

#include <zephyr/sys/reboot.h>
static int reboot(const struct shell *shell, size_t argc, char **argv) {
  sys_reboot(SYS_REBOOT_COLD);
  return 0;
}

#include "reminders/reminders_app.h"
#include "display.h"
static int cmd_reminder_init(const struct shell *shell, size_t argc, char **argv) {
  initRemindersApp(display_updateTranscription, display_updateCompletions);
  return 0;
}

static int cmd_reminder_add(const struct shell *shell, size_t argc, char **argv) {
  addReminder(argv[1], argv[2], argc == 4 && strcmp(argv[3], "true") == 0);
  return 0;
}

static int cmd_reminder_delete(const struct shell *shell, size_t argc, char **argv) {
  deleteReminder(argv[1]);
  return 0;
}

static int cmd_reminder_check(const struct shell *shell, size_t argc, char **argv) {
  checkdue();
  return 0;
}

static int cmd_reminder_record(const struct shell *shell, size_t argc, char **argv) {
  startAiFlow();
  return 0;
}

static int cmd_reminder_print(const struct shell *shell, size_t argc, char **argv) {
  printReminders();
  return 0;
}

static int cmd_reminder_stopRecord(const struct shell *shell, size_t argc, char **argv) {
  stopRecording();
  return 0;
}

static int cmd_reminder_feedback_text(const struct shell *shell, size_t argc, char **argv) {
  display_updateTranscription(argv[1]);
  display_updateCompletions(argv[1]);
  return 0;
}

#include "reminders/reminder.h"
#include "reminders/ai/completions.h"
static int cmd_reminder_completions(const struct shell *shell, size_t argc, char **argv) {
  const char *request[3] = {reminder_util_currentDateTime(), reminder_printJson(), argv[1]};
  request_chat_completion(request);
  return 0;
}

#include "util.h"
static int memory_stats(const struct shell *shell, size_t argc, char **argv) {
  print_sys_memory_stats();
  return 0;
}

#include "reminders/persistence/persistence.h"
static int delete_file(const struct shell *shell, size_t argc, char **argv) {
  fs_init(false);
  fs_deleteFile(argv[1]);
  return 0;
}


SHELL_STATIC_SUBCMD_SET_CREATE(
    sub_matter_bridge, 
    SHELL_CMD(memory_stats, NULL, "Inits the bridge.", memory_stats),
    SHELL_CMD(init, NULL, "Inits the bridge.", init),
    SHELL_CMD(remove_bond, NULL, "Remove bondings.", remove_bond),
    SHELL_CMD(reboot, NULL, "System cold reboot.", reboot),
    SHELL_CMD_ARG(set_remote_oob, NULL, " <oob rand> <oob confirm>", cmd_oob_remote, 5, 0),
    SHELL_CMD(get_local_oob, NULL, " <oob rand> <oob confirm>", cmd_oob_local),
    SHELL_SUBCMD_SET_END);

SHELL_STATIC_SUBCMD_SET_CREATE(
    sub_reminders, 
    SHELL_CMD(init, NULL, "Init reminders", cmd_reminder_init),
    SHELL_CMD_ARG(add, NULL, "Add reminder. <name> <due in MM-DD hh:mm> [<daily>]", cmd_reminder_add, 3, 1),
    SHELL_CMD_ARG(delete, NULL, "Delete reminder. <name>", cmd_reminder_delete, 2, 0),
    SHELL_CMD(check, NULL, "Check reminders' due.", cmd_reminder_check),
    SHELL_CMD(print, NULL, "Print all reminders.", cmd_reminder_print),
    SHELL_CMD(record, NULL, "Start recording for AI.", cmd_reminder_record),
    SHELL_CMD(stopRecord, NULL, "Stop recording for AI.", cmd_reminder_stopRecord),
    SHELL_CMD_ARG(feedback_text, NULL, "Draw text to display.", cmd_reminder_feedback_text, 2, 0),
    SHELL_CMD_ARG(completions, NULL, "Print all reminders.", cmd_reminder_completions, 2, 0),
    SHELL_CMD_ARG(delete_file, NULL, "Deletes the given file", delete_file, 2, 0),    
    SHELL_SUBCMD_SET_END);

SHELL_CMD_REGISTER(matter_bridge, &sub_matter_bridge, "Matter bridge commands", NULL);
SHELL_CMD_REGISTER(reminders, &sub_reminders, "Reminders commands", NULL);
```

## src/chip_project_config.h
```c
/*
 * Copyright (c) 2023 Nordic Semiconductor ASA
 *
 * SPDX-License-Identifier: LicenseRef-Nordic-5-Clause
 */

/**
 *    @file
 *          Example project configuration file for CHIP.
 *
 *          This is a place to put application or project-specific overrides
 *          to the default configuration values for general CHIP features.
 *
 */

#pragma once

#define CHIP_DEVICE_CONFIG_DYNAMIC_ENDPOINT_COUNT CONFIG_BRIDGE_MAX_DYNAMIC_ENDPOINTS_NUMBER

/*
 * Switching from Thread child to router may cause a few second packet stall.
 * Until this is improved in OpenThread we need to increase the retransmission
 * interval to survive the stall.
 */
#define CHIP_CONFIG_MRP_LOCAL_IDLE_RETRY_INTERVAL (1000_ms32)
#define CHIP_CONFIG_MRP_LOCAL_ACTIVE_RETRY_INTERVAL (1000_ms32)

/* Disable handling only single connection to avoid stopping Matter service BLE advertising
 * while other BLE bridge-related connections are open.
 */
#define CHIP_DEVICE_CONFIG_CHIPOBLE_SINGLE_CONNECTION 0
```

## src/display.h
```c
#pragma once


#ifdef __cplusplus
extern "C" {
#endif

int display_init(void);
void display_updateTranscription(const char* text);
void display_updateCompletions(const char* text);

void* display_malloc(size_t size);
void display_free(void* ptr);
void* display_realloc(void* ptr, size_t new_size);

#ifdef __cplusplus
}
#endif
```

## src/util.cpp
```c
#include "util.h"

#include <zephyr/sys/sys_heap.h>
#include <zephyr/logging/log.h>

LOG_MODULE_DECLARE(app, CONFIG_CHIP_APP_LOG_LEVEL);

#if defined(CONFIG_SYS_HEAP_RUNTIME_STATS)
#include <platform/Zephyr/SysHeapMalloc.h>

extern struct sys_heap _system_heap;
#endif

void print_sys_memory_stats(void) {
#if defined(CONFIG_SYS_HEAP_RUNTIME_STATS)
  int err;
  struct sys_memory_stats kernel_stats;

  err = sys_heap_runtime_stats_get(&_system_heap, &kernel_stats);
  if (err) {
    LOG_INF("heap: failed to read kernel heap statistics, error: %d", err);
  } else {
    LOG_INF("kernel heap statistics:");
    LOG_INF("free:           %6d", kernel_stats.free_bytes);
    LOG_INF("allocated:      %6d", kernel_stats.allocated_bytes);
    LOG_INF("max. allocated: %6d\n", kernel_stats.max_allocated_bytes);
  }

  chip::DeviceLayer::Malloc::Stats stats;
  CHIP_ERROR chipErr = chip::DeviceLayer::Malloc::GetStats(stats);
  if(chipErr == CHIP_NO_ERROR) {
    LOG_INF("Matter heap statistics:");
    LOG_INF("free:           %6d", stats.free);
    LOG_INF("allocated:      %6d", stats.used);
    LOG_INF("max. allocated: %6d\n", stats.maxUsed);
  }

}
#endif /* CONFIG_SYS_HEAP_RUNTIME_STATS */
```
